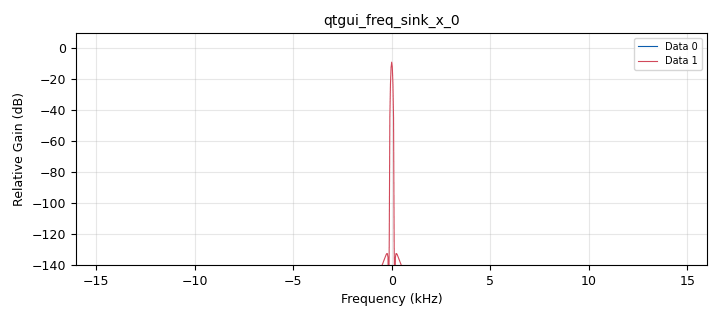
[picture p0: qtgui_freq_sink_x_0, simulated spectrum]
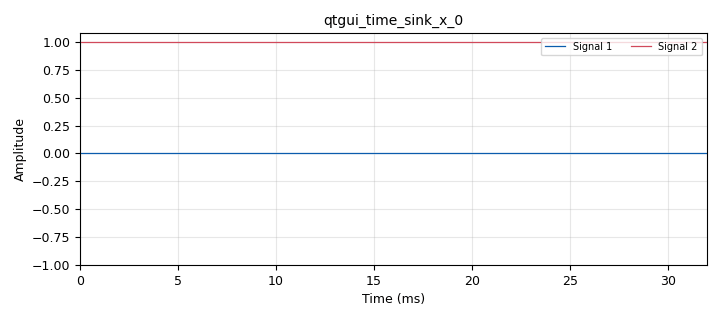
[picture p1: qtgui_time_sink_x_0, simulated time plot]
options:
  parameters:
    generate_options: qt_gui
    id: Lab_com_I
    output_language: python
    title: Primer Flujograma
  states: {}

blocks:
- name: Amplitud
  id: variable_qtgui_range
  parameters:
    start: '0'
    step: '1'
    stop: '10'
    value: '1'
  states: {}
- name: frequency
  id: variable
  parameters:
    value: samp_rate/3
  states: {state: disabled}
- name: frequency
  id: variable_qtgui_range
  parameters:
    start: '-samp_rate'
    step: '100'
    stop: samp_rate
    value: '0'
  states: {}
- name: samp_rate
  id: variable
  parameters:
    value: '32000'
  states: {}
- name: analog_sig_source_x_0
  id: analog_sig_source_x
  parameters:
    amp: Amplitud
    freq: frequency
    offset: '0'
    phase: '0'
    samp_rate: samp_rate
    type: float
    waveform: analog.GR_SIN_WAVE
  states: {}
- name: analog_sig_source_x_1
  id: analog_sig_source_x
  parameters:
    amp: Amplitud
    freq: frequency
    offset: '0'
    phase: '0'
    samp_rate: samp_rate
    type: float
    waveform: analog.GR_COS_WAVE
  states: {}
- name: blocks_throttle_0
  id: blocks_throttle
  parameters:
    samples_per_second: samp_rate
    type: float
  states: {}
- name: blocks_throttle_1
  id: blocks_throttle
  parameters:
    samples_per_second: samp_rate
    type: float
  states: {}
- name: qtgui_freq_sink_x_0
  id: qtgui_freq_sink_x
  parameters:
    bw: samp_rate
    fc: '0'
    fftsize: '1024'
    nconnections: '2'
    type: float
  states: {}
- name: qtgui_time_sink_x_0
  id: qtgui_time_sink_x
  parameters:
    nconnections: '2'
    size: '1024'
    srate: samp_rate
    type: float
  states: {}

connections:
- [analog_sig_source_x_0, '0', blocks_throttle_0, '0']
- [analog_sig_source_x_1, '0', blocks_throttle_1, '0']
- [blocks_throttle_0, '0', qtgui_freq_sink_x_0, '0']
- [blocks_throttle_0, '0', qtgui_time_sink_x_0, '0']
- [blocks_throttle_1, '0', qtgui_freq_sink_x_0, '1']
- [blocks_throttle_1, '0', qtgui_time_sink_x_0, '1']

metadata:
  file_format: 1
